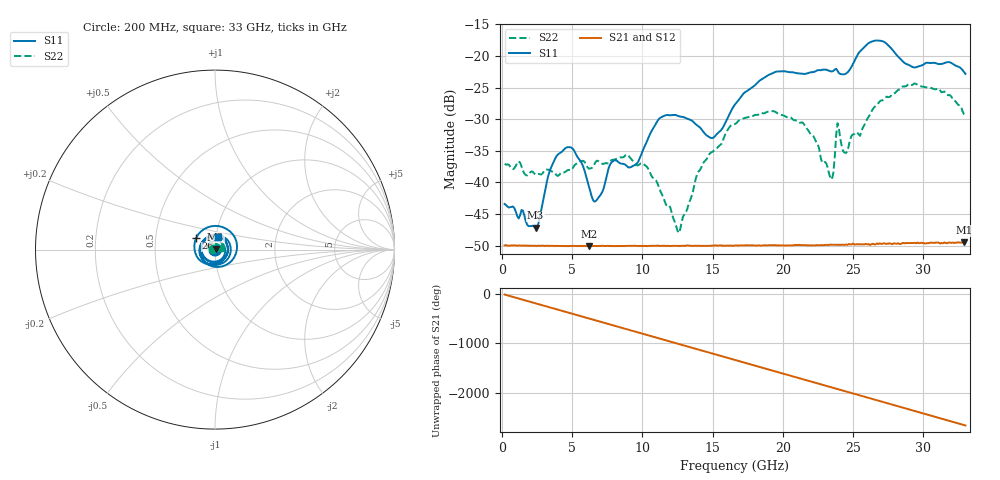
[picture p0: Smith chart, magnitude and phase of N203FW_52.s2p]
# GHZ S RI R 50
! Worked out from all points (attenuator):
!   329 points, 200 MHz to 33 GHz, reference 50 ohm
!   highest |S21| = -49.45 dB at 32.9 GHz (marker M1); lowest = -50.1 dB at 6.2 GHz (marker M2)
!   lowest |S11| = -47.1 dB at 2.4 GHz (marker M3), VSWR 1.01, Z = 50.3 + j0.298 ohm
!   |S11| at or under -10 dB: start of sweep to end of sweep
!   |S22| runs from -48.0 to -24.3 dB; largest |S21 - S12| = 8.8e-05
!   S11 on the Smith chart (normalised r, x): 200 MHz: 1.01, +0.00; 26 GHz: 0.80, +0.10; 33 GHz: 1.03, +0.14
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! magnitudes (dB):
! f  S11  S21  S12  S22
! 200 MHz  -43.4  -50.0  -49.9  -37.1
! 2.4 GHz  -47.1  -50.0  -50.0  -38.8
! 3.9 GHz  -35.8  -50.0  -50.0  -38.9
! 5.7 GHz  -37.0  -50.1  -50.0  -36.6
! 6.2 GHz  -40.6  -50.1  -50.1  -37.8
! 6.7 GHz  -42.9  -50.1  -50.0  -36.7
! 7.8 GHz  -36.9  -50.1  -50.1  -36.5
! 8.9 GHz  -37.4  -50.0  -50.0  -35.6
! 11.2 GHz  -29.9  -50.0  -50.0  -40.8
! 12.6 GHz  -29.6  -50.1  -50.0  -48.0
! 15 GHz  -33.0  -50.0  -50.0  -35.2
! 16.6 GHz  -27.7  -50.0  -50.0  -30.8
! 19.3 GHz  -22.7  -49.9  -49.9  -28.7
! 22.1 GHz  -22.6  -50.0  -49.9  -32.5
! 23.5 GHz  -22.5  -49.9  -49.8  -39.5
! 23.9 GHz  -22.4  -49.9  -49.9  -30.6
! 24.5 GHz  -22.8  -49.8  -49.8  -35.3
! 26 GHz  -18.2  -49.8  -49.8  -30.0
! 27.6 GHz  -18.5  -49.7  -49.7  -26.5
! 31.1 GHz  -21.3  -49.5  -49.4  -25.2
! 32.9 GHz  -22.5  -49.4  -49.4  -29.2
! 33 GHz  -22.8  -49.5  -49.5  -29.4
